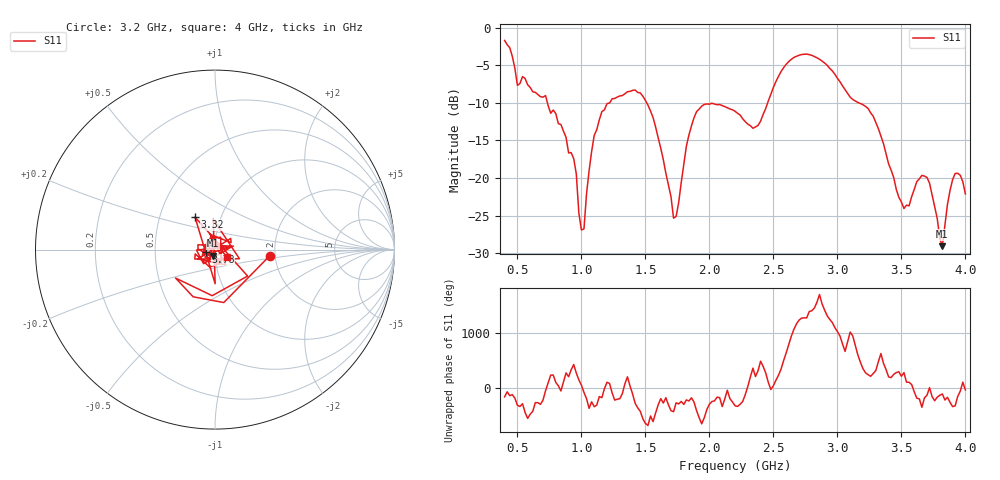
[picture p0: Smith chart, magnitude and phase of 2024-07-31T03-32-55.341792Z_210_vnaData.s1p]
!Created with skrf (http://scikit-rf.org).
# Hz S RI R 50.0
!freq ReS11 ImS11
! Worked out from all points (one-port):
!   181 points, 400 MHz to 4 GHz, reference 50 ohm
!   lowest |S11| = -29.0 dB at 3.82 GHz (marker M1), VSWR 1.07, Z = 48.9 - j3.32 ohm
!   |S11| at or under -10 dB: 734.4 MHz to 1.221 GHz (486.4 MHz wide, 49.8 % of centre); 1.51 GHz to 2.455 GHz (945.1 MHz wide, 47.7 % of centre); 3.166 GHz to end of sweep
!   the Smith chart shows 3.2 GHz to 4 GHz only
!   S11 on the Smith chart (normalised r, x): 3.2 GHz: 1.87, -0.14; 3.32 GHz: 0.75, +0.29; 3.78 GHz: 0.90, -0.02; 4 GHz: 1.14, -0.10
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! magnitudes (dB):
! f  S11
! 400 MHz  -1.7
! 500 MHz  -7.7
! 720 MHz  -9.0
! 860 MHz  -13.8
! 940 MHz  -17.4
! 980 MHz  -24.6
! 1.02 GHz  -26.7
! 1.1 GHz  -14.3
! 1.3 GHz  -9.1
! 1.5 GHz  -9.7
! 1.62 GHz  -16.0
! 1.72 GHz  -25.3
! 1.76 GHz  -23.2
! 1.82 GHz  -15.8
! 1.9 GHz  -11.2
! 2.2 GHz  -11.1
! 2.38 GHz  -13.0
! 2.66 GHz  -4.0
! 3.1 GHz  -9.2
! 3.2 GHz  -10.3
! 3.32 GHz  -13.4
! 3.48 GHz  -22.5
! 3.56 GHz  -23.7
! 3.68 GHz  -19.7
! 3.78 GHz  -25.4
! 3.82 GHz  -29.0
! 3.92 GHz  -19.4
! 4 GHz  -22.1
